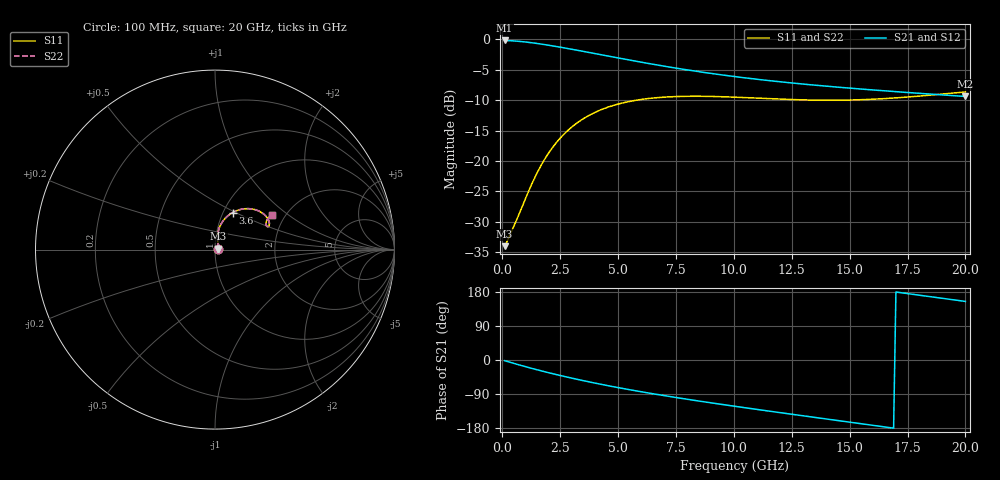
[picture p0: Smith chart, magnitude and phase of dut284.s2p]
! Touchstone file exported from HFSS 2023.1.0
!  File:  D:/Users/fzz/RDL_TSV/temp_RDL_TSV_284_1778763054.aedt
!  Generated:  9:03:28 %x4E0B%x5348  5%x6708 14, 2026
!  Design:  RDL_TSV
!  Project:  temp_RDL_TSV_284_1778763054
!  Setup:  Setup1
!  Solution:  Sweep
! Variables:
!  dtsv = 11.19um
!  hbump = 3um
!  htsv = 55.58um
!  ldown = 480.83um
!  lrdl = 414.66um
!  p = 40
!  p1 = 54.49um
!  rhole = 10um
!  subl = 3101.13um
!  t = 450um
!  tdown = 4.29um
!  trdl = 2.56um
!  viad = 10um
!  wdown = 24.14um
!  wrdl = 16.28um
!  xbump = 18um
# GHz S MA R 50.000000
! Terminal data exported
! Port[1] = TM1_1_T1
! Port[2] = TM1_4_T1
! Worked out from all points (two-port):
!   200 points, 100 MHz to 20 GHz, reference 50 ohm
!   highest |S21| = -0.17 dB at 100 MHz (marker M1); lowest = -9.4 dB at 20 GHz (marker M2)
!   |S21| within 3 dB of the highest: start of sweep to 5.178 GHz
!   lowest |S11| = -34.0 dB at 100 MHz (marker M3), VSWR 1.04, Z = 52 + j0.49 ohm
!   |S11| at or under -10 dB: start of sweep to 5.795 GHz; 13.64 GHz to 14.67 GHz (1.032 GHz wide, 7.29 % of centre)
!   |S22| runs from -34.0 to -8.6 dB; largest |S21 - S12| = 1.2e-14
!   S11 on the Smith chart (normalised r, x): 100 MHz: 1.04, +0.01; 3.6 GHz: 1.11, +0.48; 20 GHz: 1.71, +0.76
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0.1  0.0199 13.7  0.9803 -1.8  0.9803 -1.8  0.0199 13.7
! Gamma 0 0 0 0
! Port Impedance 50 0 50 0
0.5  0.02905 48.5  0.9718 -9.0  0.9718 -9.0  0.02905 48.5
0.9  0.04398 68.3  0.957 -15.9  0.957 -15.9  0.04397 68.3
1.4  0.07276 78.8  0.9318 -24.2  0.9318 -24.2  0.07277 78.8
1.9  0.1086 79.8  0.9019 -32.0  0.9019 -32.0  0.1086 79.8
2.2  0.1313 78.2  0.8827 -36.5  0.8827 -36.5  0.1314 78.2
2.6  0.1614 74.9  0.8565 -42.3  0.8565 -42.3  0.1615 74.9
3  0.19 70.9  0.83 -47.9  0.83 -47.9  0.1902 70.9
3.5  0.2225 65.6  0.7972 -54.5  0.7972 -54.5  0.2227 65.7
3.6  0.2285 64.6  0.7906 -55.8  0.7906 -55.8  0.2287 64.6
4.3  0.2654 57.4  0.7462 -64.6  0.7462 -64.6  0.2657 57.5
5  0.2937 51.0  0.7042 -72.8  0.7042 -72.8  0.294 51.0
5.9  0.3185 43.7  0.6547 -82.8  0.6547 -82.8  0.319 43.8
6.8  0.333 37.7  0.6107 -92.1  0.6107 -92.1  0.3335 37.8
8.4  0.3406 29.9  0.5458 -107.5  0.5458 -107.5  0.3412 29.9
10.1  0.3345 25.1  0.4927 -122.7  0.4927 -122.7  0.3352 25.1
11.7  0.3244 23.5  0.4542 -136.4  0.4542 -136.4  0.3252 23.4
13.4  0.3167 24.2  0.4219 -150.7  0.4219 -150.7  0.3175 24.1
15  0.317 26.3  0.3973 -164.0  0.3973 -164.0  0.3177 26.2
16.7  0.3274 28.9  0.3751 -178.2  0.3751 -178.2  0.328 28.8
18.3  0.3455 30.6  0.3568 168.6  0.3568 168.6  0.3459 30.5
20  0.3695 31.2  0.3393 154.6  0.3393 154.6  0.3699 31.1
